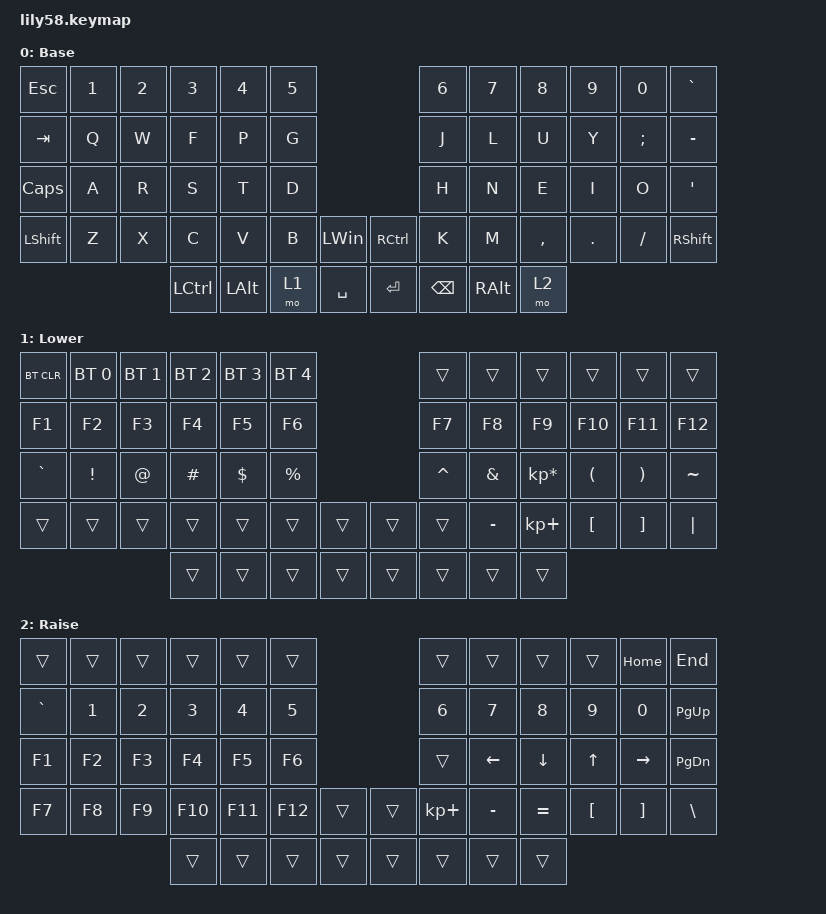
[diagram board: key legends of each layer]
/*
 * Copyright (c) 2020 The ZMK Contributors
 *
 * SPDX-License-Identifier: MIT
 */

#include <behaviors.dtsi>
#include <dt-bindings/zmk/bt.h>
#include <dt-bindings/zmk/keys.h>

/ {
    keymap {
        compatible = "zmk,keymap";

        default_layer {
            // ------------------------------------------------------------------------------------------------------------
            // |  ESC  |  1  |  2  |  3   |  4   |  5   |                   |  6   |  7    |  8    |  9   |   0   |   `   |
            // |  TAB  |  Q  |  W  |  E   |  R   |  T   |                   |  Y   |  U    |  I    |  O   |   P   |   -   |
            // |  CTRL |  A  |  S  |  D   |  F   |  G   |                   |  H   |  J    |  K    |  L   |   ;   |   '   |
            // | SHIFT |  Z  |  X  |  C   |  V   |  B   |   "["  |  |  "]"  |  N   |  M    |  ,    |  .   |   /   | SHIFT |
            //                     | ALT  | GUI  | LOWER|  SPACE |  | ENTER | RAISE| BSPC  | GUI   |

            display-name = "Base";
            bindings = <
&kp ESC       &kp N1  &kp N2  &kp N3            &kp N4        &kp N5                                     &kp N6         &kp N7         &kp N8     &kp N9   &kp N0         &kp GRAVE
&kp TAB       &kp Q   &kp W   &kp F             &kp P         &kp G                                      &kp J          &kp L          &kp U      &kp Y    &kp SEMICOLON  &kp MINUS
&kp CAPSLOCK  &kp A   &kp R   &kp S             &kp T         &kp D                                      &kp H          &kp N          &kp E      &kp I    &kp O          &kp SQT
&kp LSHFT     &kp Z   &kp X   &kp C             &kp V         &kp B   &kp LEFT_WIN    &kp RIGHT_CONTROL  &kp K          &kp M          &kp COMMA  &kp DOT  &kp FSLH       &kp RSHFT
                              &kp LEFT_CONTROL  &kp LEFT_ALT  &mo 1   &kp SPACE       &kp RET            &kp BACKSPACE  &kp RIGHT_ALT  &mo 2
            >;
        };

        lower_layer {
            // ------------------------------------------------------------------------------------------------------------
            // | BTCLR | BT1 | BT2 |  BT3 |  BT4 |  BT5 |                   |      |       |       |      |       |       |
            // |  F1   |  F2 |  F3 |  F4  |  F5  |  F6  |                   |  F7  |  F8   |  F9   |  F10 |  F11  |  F12  |
            // |   `   |  !  |  @  |  #   |  $   |  %   |                   |  ^   |  &    |  *    |  (   |   )   |   ~   |
            // |       |     |     |      |      |      |        |  |       |      |  _    |  +    |  {   |   }   |  "|"  |
            //                     |      |      |      |        |  |       |      |       |       |

            display-name = "Lower";
            bindings = <
&bt BT_CLR  &bt BT_SEL 0  &bt BT_SEL 1  &bt BT_SEL 2  &bt BT_SEL 3  &bt BT_SEL 4                    &trans     &trans     &trans           &trans            &trans             &trans
&kp F1      &kp F2        &kp F3        &kp F4        &kp F5        &kp F6                          &kp F7     &kp F8     &kp F9           &kp F10           &kp F11            &kp F12
&kp GRAVE   &kp EXCL      &kp AT        &kp HASH      &kp DOLLAR    &kp PRCNT                       &kp CARET  &kp AMPS   &kp KP_MULTIPLY  &kp LPAR          &kp RPAR           &kp TILDE
&trans      &trans        &trans        &trans        &trans        &trans        &trans    &trans  &trans     &kp MINUS  &kp KP_PLUS      &kp LEFT_BRACKET  &kp RIGHT_BRACKET  &kp PIPE
                                        &trans        &trans        &trans        &trans    &trans  &trans     &trans     &trans
            >;
        };

        raise_layer {
            // ------------------------------------------------------------------------------------------------------------
            // |       |     |     |      |      |      |                   |      |       |       |      |       |       |
            // |   `   |  1  |  2  |  3   |  4   |  5   |                   |  6   |   7   |   8   |  9   |   0   |       |
            // |   F1  |  F2 |  F3 |  F4  |  F5  |  F6  |                   |      |   <-  |   v   |  ^   |  ->   |       |
            // |   F7  |  F8 |  F9 |  F10 |  F11 |  F12 |        |  |       |  +   |   -   |   =   |  [   |   ]   |   \   |
            //                     |      |      |      |        |  |       |      |       |       |

            display-name = "Raise";
            bindings = <
&trans     &trans  &trans  &trans   &trans   &trans                     &trans       &trans     &trans     &trans    &kp HOME   &kp END
&kp GRAVE  &kp N1  &kp N2  &kp N3   &kp N4   &kp N5                     &kp N6       &kp N7     &kp N8     &kp N9    &kp N0     &kp PAGE_UP
&kp F1     &kp F2  &kp F3  &kp F4   &kp F5   &kp F6                     &trans       &kp LEFT   &kp DOWN   &kp UP    &kp RIGHT  &kp PAGE_DOWN
&kp F7     &kp F8  &kp F9  &kp F10  &kp F11  &kp F12  &trans    &trans  &kp KP_PLUS  &kp MINUS  &kp EQUAL  &kp LBKT  &kp RBKT   &kp BSLH
                           &trans   &trans   &trans   &trans    &trans  &trans       &trans     &trans
            >;
        };
    };
};
